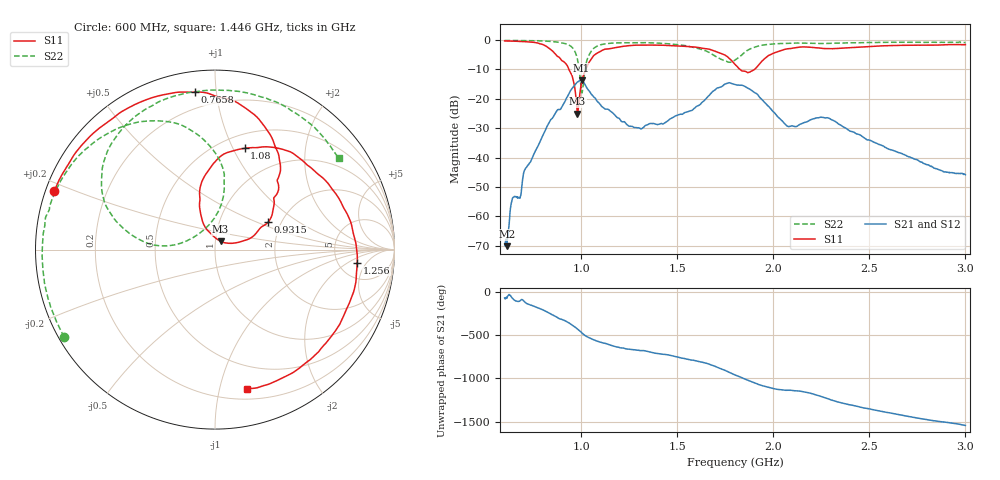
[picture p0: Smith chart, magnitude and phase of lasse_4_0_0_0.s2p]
#  HZ  S  RI  R  50.00
! Rohde & Schwarz ZVB8 2Ports - Version 2.81 - 1145.1010k08 SN: 100113
! Date: 2016-05-04 02:48:38
! Measurements: S11 S21 S12 S22
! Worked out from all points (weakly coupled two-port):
!   1000 points, 600 MHz to 3 GHz, reference 50 ohm
!   highest |S21| = -13.77 dB at 1.001 GHz (marker M1); lowest = -70.1 dB at 612 MHz (marker M2)
!   lowest |S11| = -25.1 dB at 979.6 MHz (marker M3), VSWR 1.12, Z = 53 + j4.9 ohm
!   |S11| at or under -10 dB: 934.4 MHz to 1.024 GHz (89.28 MHz wide, 9.12 % of centre); 1.824 GHz to 1.903 GHz (79.21 MHz wide, 4.25 % of centre)
!   |S22| runs from -18.0 to -0.3 dB; largest |S21 - S12| = 0.0021
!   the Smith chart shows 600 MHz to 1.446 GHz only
!   S11 on the Smith chart (normalised r, x): 600 MHz: 0.02, +0.18; 765.8 MHz: 0.11, +0.87; 931.5 MHz: 1.71, +0.59; 1.08 GHz: 0.64, +1.11; 1.256 GHz: 7.59, -3.01; 1.446 GHz: 0.28, -1.22
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6e8  -0.8952 0.3275  0.000134 -0.000313  7.96e-05 -0.000322  -0.8397 -0.4871
6.12012e8  -0.8679 0.3887  0.000107 -0.000293  0.000171 -0.000291  -0.8617 -0.4454
6.408408e8  -0.7877 0.5244  0.00073 -0.0019  0.000676 -0.00188  -0.9066 -0.3421
7.657658e8  -0.113 0.8772  -0.014 -0.00118  -0.0138 -0.00139  -0.9476 0.1423
8.426426e8  0.333 0.5807  -0.0111 0.0433  -0.0113 0.0432  -0.8217 0.4428
9.315315e8  0.2966 0.1535  0.1134 0.0183  0.1128 0.019  -0.4087 0.7134
9.795796e8  0.031 0.0461  0.0734 -0.1762  0.0745 -0.1754  0.042 0.4592
1.001201e9  -0.0745 0.1757  -0.0629 -0.1949  -0.0615 -0.1952  -0.0571 0.1142
1.03964e9  -0.0591 0.4072  -0.1321 -0.0306  -0.1315 -0.0311  -0.5312 0.1382
1.08048e9  0.1645 0.5643  -0.0818 0.0406  -0.082 0.0401  -0.6282 0.4518
1.255856e9  0.7925 -0.0726  0.0175 0.0292  0.0174 0.0293  0.0243 0.8887
1.4e9  0.3952 -0.7054  0.036 0.00549  0.036 0.00567  0.5704 0.6639
1.445646e9  0.1795 -0.7774  0.0408 -0.00311  0.0409 -0.00284  0.6887 0.5098
1.654655e9  -0.5945 -0.3688  -0.0284 -0.101  -0.0276 -0.1013  0.5816 -0.2455
1.801201e9  -0.3694 0.0747  -0.086 0.1513  -0.0869 0.1503  0.4256 -0.154
1.954955e9  -0.4706 -0.0854  0.084 -0.0166  0.0841 -0.0158  0.4848 -0.6614
2.067868e9  -0.6236 0.3087  0.019 -0.0294  0.019 -0.0294  0.1026 -0.8584
2.2e9  -0.2332 0.7035  -0.00423 -0.0442  -0.00393 -0.044  -0.3192 -0.8081
2.396997e9  0.4269 0.5936  -0.0202 0.0196  -0.0204 0.0193  -0.7225 -0.5101
2.601201e9  0.7816 -0.1337  0.0101 0.00946  0.01 0.00944  -0.9008 -0.0589
2.803003e9  0.2658 -0.7631  0.00598 -0.00458  0.00602 -0.00451  -0.8119 0.3983
3e9  -0.4534 -0.6865  -0.00127 -0.00492  -0.00121 -0.00506  -0.5152 0.7338
